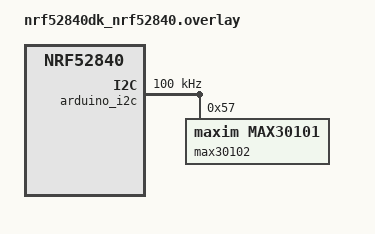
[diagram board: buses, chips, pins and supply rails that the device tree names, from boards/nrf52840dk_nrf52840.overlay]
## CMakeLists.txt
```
cmake_minimum_required(VERSION 3.20.0)
find_package(Zephyr REQUIRED HINTS $ENV{ZEPHYR_BASE})
project(nrf52840_max30102)

target_sources(app PRIVATE
    src/main.c
    ../src/max30102.c
)
target_include_directories(app PRIVATE ../src)
```

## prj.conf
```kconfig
CONFIG_UART_CONSOLE=y
CONFIG_PRINTK=y

CONFIG_I2C=y
CONFIG_GPIO=y

CONFIG_LOG=y
CONFIG_LOG_DEFAULT_LEVEL=3

CONFIG_MAIN_STACK_SIZE=4096
```

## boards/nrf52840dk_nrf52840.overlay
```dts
/*
 * nRF52840 DK overlay — enable I2C on Arduino header pins
 * SDA = P0.26 (Arduino A4/SDA)
 * SCL = P0.27 (Arduino A5/SCL)
 */
&arduino_i2c {
    status = "okay";
    clock-frequency = <I2C_BITRATE_STANDARD>;   /* 100 kHz */

    max30102: max30102@57 {
        compatible = "maxim,max30101";
        reg = <0x57>;
        status = "okay";
    };
};
```

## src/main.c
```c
/*
 * nrf52840_app/src/main.c
 * MAX30102 pulse oximeter on nRF52840 DK (Zephyr RTOS)
 *
 * Serial output: COM14 at 115200 baud
 * Wiring (Arduino header):
 *   VCC → 3V3  |  GND → GND
 *   SDA → SDA (P0.26)  |  SCL → SCL (P0.27)
 */

#include <zephyr/kernel.h>
#include <zephyr/device.h>
#include <zephyr/drivers/i2c.h>
#include "max30102.h"

/* I2C bus node — arduino_i2c maps to i2c0 on P0.26/P0.27 */
#define I2C_NODE    DT_NODELABEL(arduino_i2c)

#define WARMUP_MS       3000
#define READ_INTERVAL_MS 500

int main(void)
{
    printk("\n=== MAX30102 Pulse Oximeter (nRF52840 DK / Zephyr) ===\n");

    /* Get I2C device from device tree */
    const struct device *i2c = DEVICE_DT_GET(I2C_NODE);
    if (!device_is_ready(i2c)) {
        printk("ERROR: I2C bus not ready — check overlay and wiring\n");
        return -1;
    }

    /* Sensor configuration */
    max30102_config_t cfg = {
        .i2c_dev        = i2c,
        .mode           = MODE_SPO2,
        .sample_rate    = SPO2_SR_100,
        .pulse_width    = SPO2_PW_411US_18BIT,
        .adc_range      = SPO2_ADC_RGE_32768,  /* max range — needed with high LED current */
        .led_current_red = 0xC0,              /* ~38 mA — needed for clone sensors */
        .led_current_ir  = 0xC0,
        .sample_avg     = FIFO_SMP_AVE_4,
    };

    /* Init sensor */
    int ret = max30102_init(&cfg);
    if (ret < 0) {
        printk("ERROR: Sensor init failed (%d) — check VCC/SDA/SCL wiring\n", ret);
        return -1;
    }

    printk("Sensor ready. Warming up %d ms...\n", WARMUP_MS);
    k_sleep(K_MSEC(WARMUP_MS));
    printk("Place finger on sensor.\n\n");

    max30102_data_t data;
    int tick = 0;

    while (1) {
        ret = max30102_read(&cfg, &data);

        if (ret < 0) {
            printk("[%4d] ERROR reading sensor (%d)\n", tick, ret);
        } else if (!data.valid) {
            printk("[%4d] Waiting...  IR=%6u  Red=%6u\n",
                   tick, data.ir_raw, data.red_raw);
        } else {
            printk("[%4d] HR: %3d bpm  |  SpO2: %3d %%  (IR=%6u  Red=%6u)\n",
                   tick,
                   data.heart_rate_bpm,
                   data.spo2_percent,
                   data.ir_raw,
                   data.red_raw);
        }

        tick++;
        k_sleep(K_MSEC(READ_INTERVAL_MS));
    }

    return 0;
}
```
